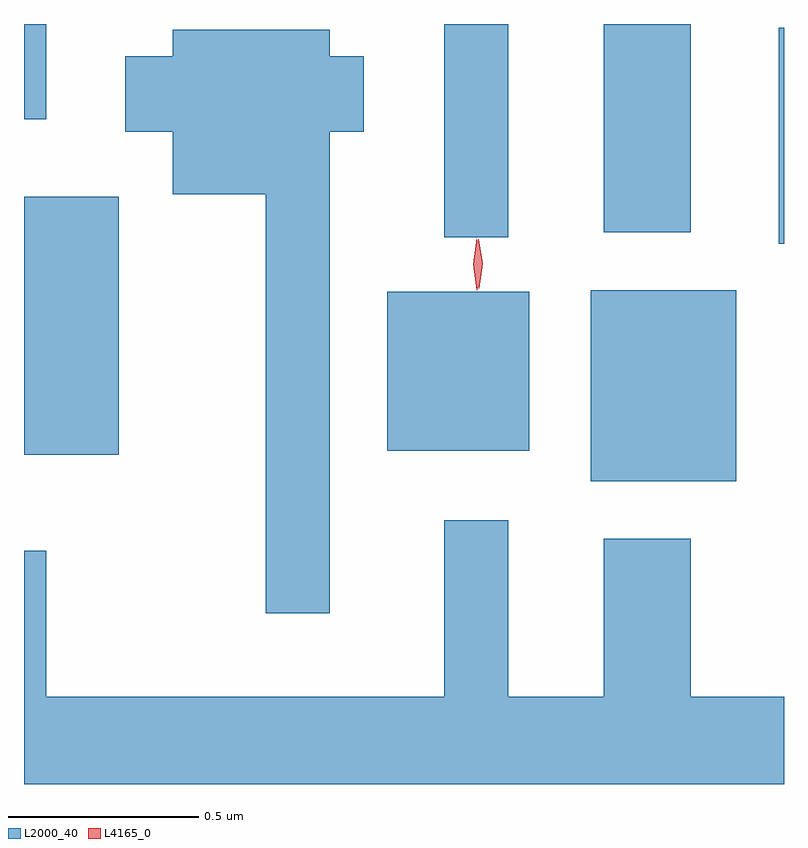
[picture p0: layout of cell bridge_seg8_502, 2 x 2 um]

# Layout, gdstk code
import gdstk
lib = gdstk.Library(unit=1e-6, precision=1e-09)
def R(c, l, rs):  # rectangles x0, y0, x1, y1
    for r in rs: c.add(gdstk.rectangle(r[:2], r[2:], *l))
def P(c, l, *ps):  # polygons
    for p in ps: c.add(gdstk.Polygon(p, *l))
L2000_40 = (2000, 40)
L4165_0 = (4165, 0)

bridge_seg8_502 = lib.new_cell('bridge_seg8_502')
R(bridge_seg8_502, L2000_40, [(358.846,1886.091,359.229,1886.594), (357.355,1886.161,357.604,1886.839), (358.311,1886.171,358.684,1886.589), (359.341,1886.716,359.355,1887.284), (358.461,1886.733,358.629,1887.294), (358.881,1886.746,359.109,1887.294), (357.355,1887.043,357.414,1887.294)])
P(bridge_seg8_502, L2000_40, [(358.159,1887.011),(358.249,1887.011),(358.249,1887.209),(358.159,1887.209),(358.159,1887.279),(357.746,1887.279),(357.746,1887.209),(357.621,1887.209),(357.621,1887.011),(357.746,1887.011),(357.746,1886.846),(357.991,1886.846),(357.991,1885.743),(358.159,1885.743)],
  [(359.355,1885.524),(359.109,1885.524),(359.109,1885.939),(358.881,1885.939),(358.881,1885.524),(358.629,1885.524),(358.629,1885.988),(358.461,1885.988),(358.461,1885.524),(357.414,1885.524),(357.414,1885.908),(357.355,1885.908),(357.355,1885.294),(359.355,1885.294)])
P(bridge_seg8_502, L4165_0, [(358.547,1886.594),(358.547,1886.594),(358.537,1886.662),(358.546,1886.73),(358.546,1886.73),(358.547,1886.73),(358.557,1886.662),(358.548,1886.594)],
  [(358.552,1886.598),(358.552,1886.599),(358.542,1886.663),(358.551,1886.727),(358.552,1886.727),(358.552,1886.727),(358.562,1886.663),(358.553,1886.599)])

lib.write_gds('bridge_seg8_502.gds')
